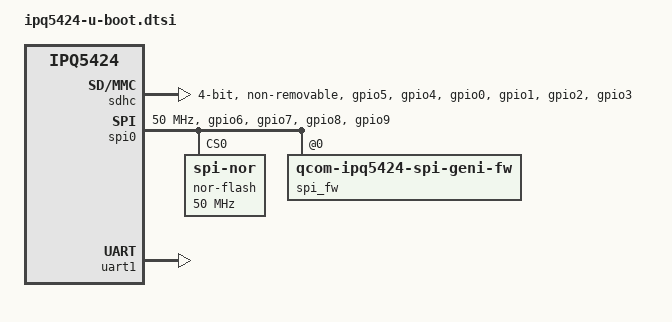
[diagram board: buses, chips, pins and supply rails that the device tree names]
// SPDX-License-Identifier: GPL-2.0+
/*
 * Copyright (c) Qualcomm Technologies, Inc. and/or its subsidiaries.
 */

/ {

	chosen {
		stdout-path = "serial0:115200n8";
	};

	reserved-memory {

		/delete-node/ smem;
		smem_mem: smem_region@8a800000 {
			reg = <0x0 0x8a800000 0x0 0x32000>;
			no-map;
		};
	};

	smem {
		compatible = "qcom,smem";
		memory-region = <&smem_mem>;
		hwlocks = <&tcsr_mutex 3>;
	};
};

&tlmm {
	sdc_default_state: sdc-default-state {
		clk-pins {
			pins = "gpio5";
			function = "sdc_clk";
			drive-strength = <8>;
			bias-disable;
		};

		cmd-pins {
			pins = "gpio4";
			function = "sdc_cmd";
			drive-strength = <8>;
			bias-pull-up;
		};

		data-pins {
			pins = "gpio0", "gpio1", "gpio2", "gpio3";
			function = "sdc_data";
			drive-strength = <8>;
			bias-pull-up;
		};
	};

	spi0_pinmux: spi0 {
		spi0_sclk {
			pins = "gpio6";
			function = "spi0_clk";
			drive-strength = <8>;
			bias-pull-down;
		};

		spi0_cs0 {
			pins = "gpio7";
			function = "spi0_cs";
			drive-strength = <8>;
			bias-pull-up;
		};

		spi0_miso {
			pins = "gpio8";
			function = "spi0_miso";
			drive-strength = <8>;
			bias-pull-down;
		};

		spi0_mosi {
			pins = "gpio9";
			function = "spi0_mosi";
			drive-strength = <8>;
			bias-pull-down;
		};
	};
};

&sdhc {
	bus-width = <4>;
	max-frequency = <192000000>;
	mmc-ddr-1_8v;
	non-removable;
	pinctrl-0 = <&sdc_default_state>;
	pinctrl-names = "default";
	sdhci-caps-mask = <0x0 0x04000000>;
	sdhci-caps = <0x0 0x04000000>;
	resets = <&gcc GCC_SDCC_BCR>;
	reset-names = "bcr_rst";
	status = "okay";
};

&qupv3 {
	spi0: spi@1a90000 {
		compatible = "qcom-ipq5424-geni-spi";
		reg = <0 0x1a90000 0 0x4000>;
		reg-names = "se_phys";
		clocks = <&gcc GCC_QUPV3_SPI0_CLK>;
		clock-names = "se-spi-clk";
		clock-frequency = <50000000>;
		nor-blk-enable;
		status = "okay";
		#address-cells = <1>;
		#size-cells = <0>;
		qup-se-fw-load = <&spi_fw>;

		pinctrl-0 = <&spi0_pinmux>;
		pinctrl-names = "default";

		nor-flash@0 {
			compatible = "jedec,spi-nor";
			reg = <0 0 0 0>;
			spi-max-frequency = <50000000>;
		};

		spi_fw: fw@0 {
			compatible = "qcom-ipq5424-spi-geni-fw";
			status = "okay";
		};
	};
};

&sleep_clk {
	clock-frequency = <32000>;
};

&uart1 {
	pinctrl-0 = <&uart1_pins>;
	pinctrl-names = "default";
	status = "okay";
};

&xo_board {
	clock-frequency = <24000000>;
};
